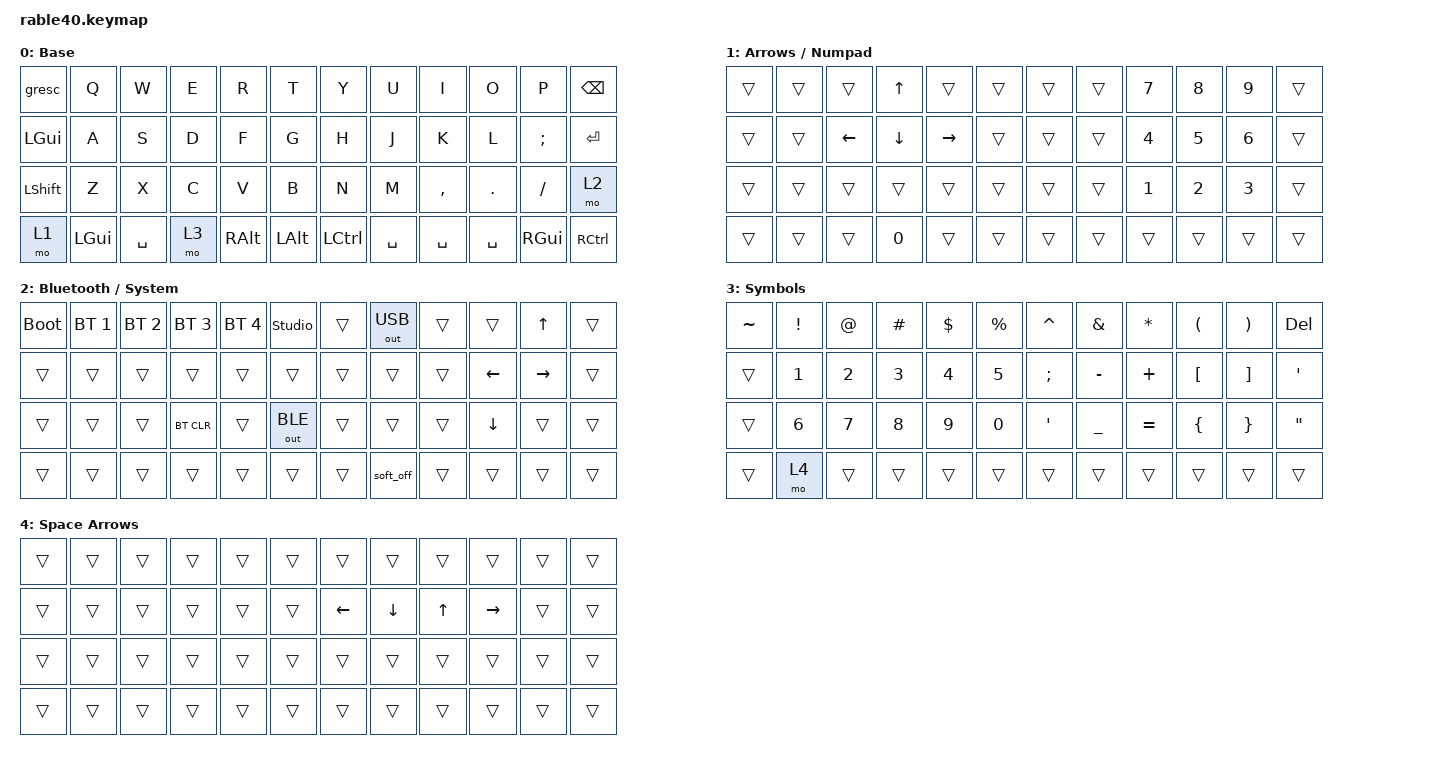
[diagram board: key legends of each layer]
/*
 * Copyright (c) 2021 Nick Winans
 *
 * SPDX-License-Identifier: MIT
 */

#include <behaviors.dtsi>
#include <dt-bindings/zmk/bt.h>
#include <dt-bindings/zmk/keys.h>
#include <dt-bindings/zmk/outputs.h>

/ {
    behaviors {
        td0: td0 {
            compatible = "zmk,behavior-tap-dance";
            #binding-cells = <0>;
            bindings = <&lt 3 SPACE>, <&mo 4>;
        };
    };

    keymap {
        compatible = "zmk,keymap";

        default_layer {
            display-name = "Base";
            bindings = <
                &gresc  &kp Q  &kp W  &kp E  &kp R  &kp T  &kp Y  &kp U  &kp I  &kp O  &kp P  &kp BSPC
                &kp LEFT_GUI  &kp A  &kp S  &kp D  &kp F  &kp G  &kp H  &kp J  &kp K  &kp L  &kp SEMI  &kp RET
                &kp LSHFT  &kp Z  &kp X  &kp C  &kp V  &kp B  &kp N  &kp M  &kp COMMA  &kp DOT  &kp SLASH  &mo 2
                &mo 1  &kp LGUI  &kp SPACE  &mo 3  &kp RALT  &kp LALT  &kp LCTRL  &kp SPACE  &kp SPACE  &kp SPACE  &kp RGUI  &kp RCTRL
            >;
        };

        arrow_layer {
            display-name = "Arrows / Numpad";
            bindings = <
                &trans  &trans  &trans  &kp UP  &trans  &trans  &trans  &trans  &kp NUMBER_7  &kp NUMBER_8  &kp NUMBER_9  &trans
                &trans  &trans  &kp LEFT  &kp DOWN  &kp RIGHT  &trans  &trans  &trans  &kp NUMBER_4  &kp NUMBER_5  &kp NUMBER_6  &trans
                &trans  &trans  &trans  &trans  &trans  &trans  &trans  &trans  &kp NUMBER_1  &kp NUMBER_2  &kp NUMBER_3  &trans
                &trans  &trans  &trans  &kp NUMBER_0  &trans  &trans  &trans  &trans  &trans  &trans  &trans  &trans
            >;
        };

        mod_layer {
            display-name = "Bluetooth / System";
            bindings = <
                &bootloader  &bt BT_SEL 1  &bt BT_SEL 2  &bt BT_SEL 3  &bt BT_SEL 4  &studio_unlock  &trans  &out OUT_USB  &trans  &trans  &kp UP_ARROW  &trans
                &trans  &trans  &trans  &trans  &trans  &trans  &trans  &trans  &trans  &kp LEFT_ARROW  &kp RIGHT_ARROW  &trans
                &trans  &trans  &trans  &bt BT_CLR  &trans  &out OUT_BLE  &trans  &trans  &trans  &kp DOWN_ARROW  &trans  &trans
                &trans  &trans  &trans  &trans  &trans  &trans  &trans  &soft_off  &trans  &trans  &trans  &trans
            >;
        };

        symbol_layer {
            display-name = "Symbols";
            bindings = <
                &kp TILDE  &kp EXCL  &kp AT  &kp HASH  &kp DOLLAR  &kp PERCENT  &kp CARET  &kp AMPERSAND  &kp ASTERISK  &kp LEFT_PARENTHESIS  &kp RIGHT_PARENTHESIS  &kp DEL
                &trans  &kp NUMBER_1  &kp NUMBER_2  &kp NUMBER_3  &kp NUMBER_4  &kp NUMBER_5  &kp SEMICOLON  &kp MINUS  &kp PLUS  &kp LEFT_BRACKET  &kp RIGHT_BRACKET  &kp SINGLE_QUOTE
                &trans  &kp NUMBER_6  &kp NUMBER_7  &kp NUMBER_8  &kp NUMBER_9  &kp NUMBER_0  &kp APOS  &kp UNDER  &kp EQUAL  &kp LEFT_BRACE  &kp RIGHT_BRACE  &kp DOUBLE_QUOTES
                &trans  &mo 4  &trans  &trans  &trans  &trans  &trans  &trans  &trans  &trans  &trans  &trans
            >;
        };

        space_arrow {
            display-name = "Space Arrows";
            bindings = <
                &trans  &trans  &trans  &trans  &trans  &trans  &trans  &trans  &trans  &trans  &trans  &trans
                &trans  &trans  &trans  &trans  &trans  &trans  &kp LEFT_ARROW  &kp DOWN  &kp UP_ARROW  &kp RIGHT  &trans  &trans
                &trans  &trans  &trans  &trans  &trans  &trans  &trans  &trans  &trans  &trans  &trans  &trans
                &trans  &trans  &trans  &trans  &trans  &trans  &trans  &trans  &trans  &trans  &trans  &trans
            >;
        };
    };
};
